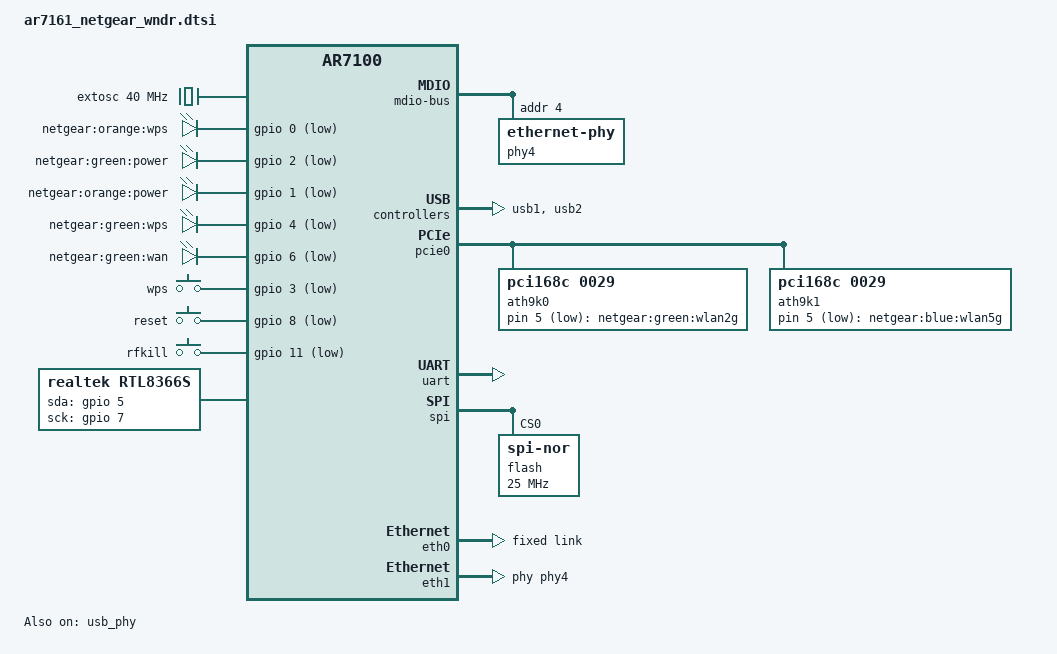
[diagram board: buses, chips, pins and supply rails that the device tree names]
// SPDX-License-Identifier: GPL-2.0-or-later OR MIT

#include "ar7100.dtsi"

#include <dt-bindings/gpio/gpio.h>
#include <dt-bindings/input/input.h>

/ {
	aliases {
		led-boot = &led_power_orange;
		led-failsafe = &led_power_orange;
		led-running = &led_power_green;
		led-upgrade = &led_power_orange;
		label-mac-device = &eth0;
	};

	extosc: ref {
		compatible = "fixed-clock";
		#clock-cells = <0>;
		clock-output-names = "ref";
		clock-frequency = <40000000>;
	};

	reset-leds {
		compatible = "reset-leds";

		usb_led {
			label = "netgear:green:usb";
			resets = <&rst 12>;
			trigger-sources = <&usb_ohci_port>, <&usb_ehci_port>;
			linux,default-trigger = "usbport";
		};
	};

	leds {
		compatible = "gpio-leds";

		wps {
			label = "netgear:orange:wps";
			gpios = <&gpio 0 GPIO_ACTIVE_LOW>;
		};

		led_power_green: power_green {
			label = "netgear:green:power";
			gpios = <&gpio 2 GPIO_ACTIVE_LOW>;
		};

		led_power_orange: power_orange {
			label = "netgear:orange:power";
			gpios = <&gpio 1 GPIO_ACTIVE_LOW>;
			default-state = "on";
		};

		wps_green {
			label = "netgear:green:wps";
			gpios = <&gpio 4 GPIO_ACTIVE_LOW>;
		};

		wan_green {
			label = "netgear:green:wan";
			gpios = <&gpio 6 GPIO_ACTIVE_LOW>;
		};
	};

	ath9k-leds {
		compatible = "gpio-leds";

		wlan2g {
			label = "netgear:green:wlan2g";
			gpios = <&ath9k0 5 GPIO_ACTIVE_LOW>;
			linux,default-trigger = "phy0tpt";
		};
		wlan5g {
			label = "netgear:blue:wlan5g";
			gpios = <&ath9k1 5 GPIO_ACTIVE_LOW>;
			linux,default-trigger = "phy1tpt";
		};
	};

	keys {
		compatible = "gpio-keys";

		wps {
			label = "wps";
			linux,code = <KEY_WPS_BUTTON>;
			gpios = <&gpio 3 GPIO_ACTIVE_LOW>;
		};

		reset {
			label = "reset";
			linux,code = <KEY_RESTART>;
			gpios = <&gpio 8 GPIO_ACTIVE_LOW>;
		};

		rfkill {
			label = "rfkill";
			linux,code = <KEY_RFKILL>;
			gpios = <&gpio 11 GPIO_ACTIVE_LOW>;
		};
	};

	rtl8366s {
		compatible = "realtek,rtl8366s";

		gpio-sda = <&gpio 5 GPIO_ACTIVE_HIGH>;
		gpio-sck = <&gpio 7 GPIO_ACTIVE_HIGH>;

		mdio-bus {
			#address-cells = <1>;
			#size-cells = <0>;
			status = "okay";

			phy-mask = <0x10>;

			phy4: ethernet-phy@4 {
				reg = <4>;
				phy-mode = "rgmii";
			};
		};
	};
};

&usb_phy {
	status = "okay";
};

&usb1 {
	#address-cells = <1>;
	#size-cells = <0>;
	status = "okay";

	usb_ohci_port: port@1 {
		reg = <1>;
		#trigger-source-cells = <0>;
	};
};

&usb2 {
	#address-cells = <1>;
	#size-cells = <0>;
	status = "okay";

	usb_ehci_port: port@1 {
		reg = <1>;
		#trigger-source-cells = <0>;
	};
};

&pcie0 {
	status = "okay";

	ath9k0: wifi@0,11 {
		compatible = "pci168c,0029";
		reg = <0x8800 0 0 0 0>;
		mtd-mac-address = <&art 0x0>;
		qca,no-eeprom;
		#gpio-cells = <2>;
		gpio-controller;

		/* all WNDR3700 variants have four antennae dedicated
		 * to the 2.4GHz radio. Two antennae are available for
		 * each chain. The following configuration is the
		 * default setting which taken from the vendor's wifi
		 * code for that radio.
		 *
		 * All possible options [GPIO6,GPIO7,GPIO8,GPIO9]:
		 *	[0,1,0,1], [0,1,1,0], [1,0,0,1], [1,0,1,0]
		 */
		antenna-demux {
			gpio-hog;
			line-name = "fixed antenna group 1";
			gpios = <6 GPIO_ACTIVE_LOW>,
				<7 GPIO_ACTIVE_HIGH>,
				<8 GPIO_ACTIVE_LOW>,
				<9 GPIO_ACTIVE_HIGH>;
			output-high;
		};
	};

	ath9k1: wifi@0,12 {
		compatible = "pci168c,0029";
		reg = <0x9000 0 0 0 0>;
		mtd-mac-address = <&art 0xc>;
		qca,no-eeprom;
		#gpio-cells = <2>;
		gpio-controller;
	};
};

&uart {
	status = "okay";
};

&spi {
	status = "okay";

	num-cs = <1>;

	flash@0 {
		compatible = "jedec,spi-nor";
		reg = <0>;
		spi-max-frequency = <25000000>;

		partitions: partitions {
			compatible = "fixed-partitions";
			#address-cells = <1>;
			#size-cells = <1>;
		};
	};
};

&eth0 {
	status = "okay";

	pll-data = <0x11110000 0x00001099 0x00991099>;

	mtd-mac-address = <&art 0x00>;

	fixed-link {
		speed = <1000>;
		full-duplex;
	};
};

&eth1 {
	status = "okay";

	pll-data = <0x11110000 0x00001099 0x00991099>;

	mtd-mac-address = <&art 0x06>;

	phy-handle = <&phy4>;
};
